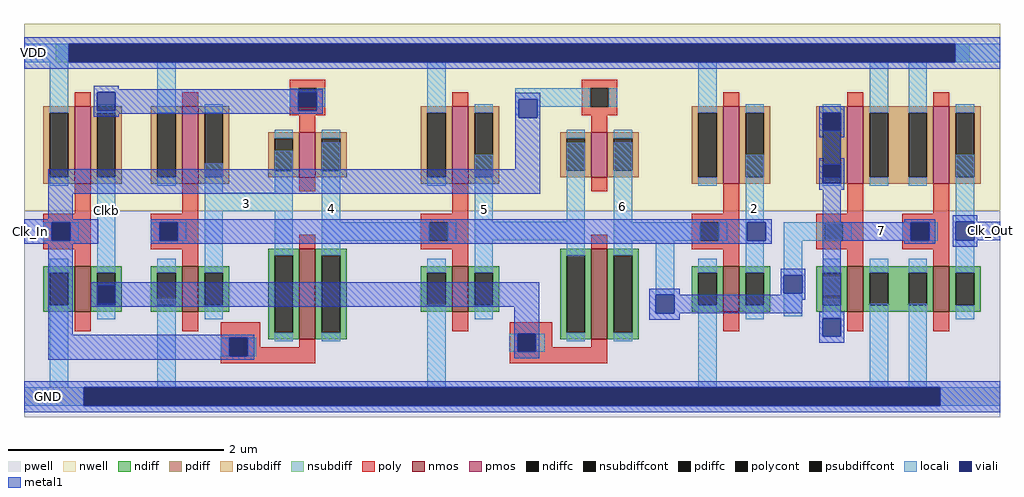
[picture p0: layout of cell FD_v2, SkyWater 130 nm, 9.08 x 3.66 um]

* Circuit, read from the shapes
.subckt FD_v2 Clk_In VDD GND Clk_Out
XM1 Clkb Clk_In GND GND sky130_fd_pr__nfet_01v8 w=0.42 l=0.15
XM2 3 2 GND GND sky130_fd_pr__nfet_01v8 w=0.42 l=0.15
XM3 4 Clk_In 3 GND sky130_fd_pr__nfet_01v8 w=0.84 l=0.15
XM4 5 4 GND GND sky130_fd_pr__nfet_01v8 w=0.42 l=0.15
XM5 6 Clkb 5 GND sky130_fd_pr__nfet_01v8 w=0.84 l=0.15
XM6 2 6 GND GND sky130_fd_pr__nfet_01v8 w=0.42 l=0.15
XM7 GND 6 7 GND sky130_fd_pr__nfet_01v8 w=0.42 l=0.15
XM8 Clk_Out 7 GND GND sky130_fd_pr__nfet_01v8 w=0.42 l=0.15
XM9 Clkb Clk_In VDD VDD sky130_fd_pr__pfet_01v8 w=0.72 l=0.15
XM10 3 2 VDD VDD sky130_fd_pr__pfet_01v8 w=0.72 l=0.15
XM11 4 Clkb 3 VDD sky130_fd_pr__pfet_01v8 w=0.42 l=0.15
XM12 5 4 VDD VDD sky130_fd_pr__pfet_01v8 w=0.72 l=0.15
XM13 6 Clk_In 5 VDD sky130_fd_pr__pfet_01v8 w=0.42 l=0.15
XM14 2 6 VDD VDD sky130_fd_pr__pfet_01v8 w=0.72 l=0.15
XM15 VDD 6 7 VDD sky130_fd_pr__pfet_01v8 w=0.72 l=0.15
XM16 Clk_Out 7 VDD VDD sky130_fd_pr__pfet_01v8 w=0.72 l=0.15
.ends

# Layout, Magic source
magic
tech sky130A
magscale 1 2
<< nwell >>
rect 68 -313 1883 34
<< pwell >>
rect 68 -697 1883 -313
<< ndiff >>
rect 1687 -501 1701 -417
<< pdiff >>
rect 1687 -263 1701 -119
<< psubdiff >>
rect 68 -676 179 -642
rect 1772 -676 1883 -642
<< nsubdiff >>
rect 127 -37 151 -3
rect 1800 -37 1827 -3
<< psubdiffcont >>
rect 179 -676 1772 -642
<< nsubdiffcont >>
rect 151 -37 1800 -3
<< poly >>
rect 434 -550 501 -521
rect 434 -584 450 -550
rect 484 -584 501 -550
rect 434 -597 501 -584
rect 971 -542 1050 -521
rect 971 -576 986 -542
rect 1020 -576 1050 -542
rect 971 -597 1050 -576
<< polycont >>
rect 450 -584 484 -550
rect 986 -576 1020 -542
<< locali >>
rect 68 -37 151 -3
rect 1800 -37 1883 -3
rect 116 -131 150 -37
rect 316 -115 350 -37
rect 818 -131 852 -37
rect 982 -106 1115 -86
rect 982 -136 988 -106
rect 1022 -120 1115 -106
rect 1022 -136 1028 -120
rect 1322 -131 1356 -37
rect 1641 -131 1675 -37
rect 1713 -131 1747 -37
rect 204 -403 238 -267
rect 404 -280 438 -225
rect 534 -280 568 -202
rect 404 -314 568 -280
rect 404 -403 438 -314
rect 534 -380 568 -314
rect 622 -335 656 -186
rect 906 -334 940 -209
rect 1077 -334 1111 -187
rect 622 -369 810 -335
rect 906 -368 1111 -334
rect 622 -380 656 -369
rect 906 -403 940 -368
rect 1077 -397 1111 -368
rect 1165 -335 1199 -186
rect 1410 -335 1444 -209
rect 1801 -334 1835 -209
rect 1165 -369 1310 -335
rect 1410 -369 1413 -335
rect 1481 -369 1541 -335
rect 1556 -369 1590 -335
rect 1165 -380 1199 -369
rect 1243 -470 1277 -369
rect 1410 -403 1444 -369
rect 116 -642 150 -503
rect 316 -642 350 -477
rect 434 -584 450 -550
rect 484 -584 500 -550
rect 818 -642 852 -488
rect 1481 -433 1515 -369
rect 1801 -403 1835 -368
rect 970 -576 986 -542
rect 1020 -576 1036 -542
rect 1322 -642 1356 -501
rect 1481 -510 1515 -467
rect 1553 -470 1587 -436
rect 1553 -513 1587 -477
rect 1641 -642 1675 -486
rect 1713 -642 1747 -486
rect 68 -676 179 -642
rect 1772 -676 1883 -642
<< viali >>
rect 151 -37 1800 -3
rect 204 -127 238 -93
rect 578 -127 612 -93
rect 988 -140 1022 -106
rect 1553 -165 1587 -131
rect 120 -369 154 -335
rect 320 -369 354 -335
rect 1553 -262 1587 -228
rect 1413 -369 1447 -335
rect 1717 -369 1751 -335
rect 1801 -368 1835 -334
rect 204 -486 238 -452
rect 450 -584 484 -550
rect 1243 -504 1277 -470
rect 1481 -467 1515 -433
rect 986 -576 1020 -542
rect 1553 -547 1587 -513
rect 179 -676 1772 -642
<< metal1 >>
rect 68 -3 1883 9
rect 68 -37 151 -3
rect 1800 -37 1883 -3
rect 68 -49 1883 -37
rect 198 -87 244 -81
rect 198 -93 624 -87
rect 198 -127 204 -93
rect 238 -127 578 -93
rect 612 -127 624 -93
rect 198 -133 624 -127
rect 982 -106 1028 -94
rect 198 -139 244 -133
rect 982 -140 988 -106
rect 1022 -140 1028 -106
rect 982 -236 1028 -140
rect 1547 -131 1593 -119
rect 1547 -165 1553 -131
rect 1587 -165 1593 -131
rect 1547 -177 1593 -165
rect 1553 -216 1587 -177
rect 113 -282 1028 -236
rect 1547 -228 1593 -216
rect 1547 -262 1553 -228
rect 1587 -262 1593 -228
rect 1547 -274 1593 -262
rect 113 -329 159 -282
rect 68 -335 206 -329
rect 68 -369 120 -335
rect 154 -369 206 -335
rect 68 -375 206 -369
rect 304 -335 1459 -329
rect 304 -369 320 -335
rect 354 -369 1413 -335
rect 1447 -369 1459 -335
rect 304 -375 1459 -369
rect 1553 -335 1587 -274
rect 1705 -335 1763 -329
rect 1553 -369 1717 -335
rect 1751 -369 1763 -335
rect 113 -544 159 -375
rect 1475 -433 1521 -421
rect 192 -452 1026 -446
rect 192 -486 204 -452
rect 238 -486 1026 -452
rect 192 -492 1026 -486
rect 980 -542 1026 -492
rect 1231 -470 1287 -458
rect 1475 -467 1481 -433
rect 1515 -467 1521 -433
rect 1475 -470 1521 -467
rect 1231 -504 1243 -470
rect 1277 -479 1521 -470
rect 1277 -504 1515 -479
rect 1553 -501 1587 -369
rect 1705 -375 1763 -369
rect 1795 -334 1841 -322
rect 1795 -368 1801 -334
rect 1835 -368 1883 -334
rect 1795 -380 1841 -368
rect 1231 -516 1287 -504
rect 1547 -513 1593 -501
rect 113 -550 496 -544
rect 113 -584 450 -550
rect 484 -584 496 -550
rect 113 -590 496 -584
rect 980 -576 986 -542
rect 1020 -576 1026 -542
rect 1547 -547 1553 -513
rect 1587 -547 1593 -513
rect 1547 -559 1593 -547
rect 980 -588 1026 -576
rect 68 -642 1883 -630
rect 68 -676 179 -642
rect 1772 -676 1883 -642
rect 68 -688 1883 -676
use sky130_fd_pr__nfet_01v8_NDE37H  sky130_fd_pr__nfet_01v8_NDE37H_0
transform 1 0 595 0 -1 -499
box -118 -141 73 98
use sky130_fd_pr__nfet_01v8_NDE37H  sky130_fd_pr__nfet_01v8_NDE37H_1
transform 1 0 1138 0 -1 -499
box -118 -141 73 98
use sky130_fd_pr__nfet_01v8_PW5BNL  sky130_fd_pr__nfet_01v8_PW5BNL_0
transform 1 0 177 0 1 -422
box -73 -115 73 103
use sky130_fd_pr__nfet_01v8_PW5BNL  sky130_fd_pr__nfet_01v8_PW5BNL_1
transform 1 0 377 0 1 -422
box -73 -115 73 103
use sky130_fd_pr__nfet_01v8_PW5BNL  sky130_fd_pr__nfet_01v8_PW5BNL_2
transform 1 0 879 0 1 -422
box -73 -115 73 103
use sky130_fd_pr__nfet_01v8_PW5BNL  sky130_fd_pr__nfet_01v8_PW5BNL_3
transform 1 0 1383 0 1 -422
box -73 -115 73 103
use sky130_fd_pr__nfet_01v8_PW5BNL  sky130_fd_pr__nfet_01v8_PW5BNL_4
transform 1 0 1614 0 1 -422
box -73 -115 73 103
use sky130_fd_pr__nfet_01v8_PW5BNL  sky130_fd_pr__nfet_01v8_PW5BNL_5
transform 1 0 1774 0 1 -422
box -73 -115 73 103
use sky130_fd_pr__pfet_01v8_A7DS5R  sky130_fd_pr__pfet_01v8_A7DS5R_0
transform 1 0 177 0 1 -227
box -109 -133 109 170
use sky130_fd_pr__pfet_01v8_A7DS5R  sky130_fd_pr__pfet_01v8_A7DS5R_1
transform 1 0 377 0 1 -227
box -109 -133 109 170
use sky130_fd_pr__pfet_01v8_A7DS5R  sky130_fd_pr__pfet_01v8_A7DS5R_2
transform 1 0 879 0 1 -227
box -109 -133 109 170
use sky130_fd_pr__pfet_01v8_A7DS5R  sky130_fd_pr__pfet_01v8_A7DS5R_3
transform 1 0 1383 0 1 -227
box -109 -133 109 170
use sky130_fd_pr__pfet_01v8_A7DS5R  sky130_fd_pr__pfet_01v8_A7DS5R_4
transform 1 0 1614 0 1 -227
box -109 -133 109 170
use sky130_fd_pr__pfet_01v8_A7DS5R  sky130_fd_pr__pfet_01v8_A7DS5R_5
transform 1 0 1774 0 1 -227
box -109 -133 109 170
use sky130_fd_pr__pfet_01v8_ACPHKB  sky130_fd_pr__pfet_01v8_ACPHKB_0
transform 1 0 595 0 1 -173
box -109 -140 109 106
use sky130_fd_pr__pfet_01v8_ACPHKB  sky130_fd_pr__pfet_01v8_ACPHKB_1
transform 1 0 1138 0 1 -173
box -109 -140 109 106
<< labels >>
rlabel metal1 68 -375 92 -329 1 Clk_In
port 1 n
rlabel metal1 1849 -368 1883 -334 1 Clk_Out
port 4 n
rlabel metal1 68 -49 102 9 1 VDD
port 2 n
rlabel metal1 96 -688 130 -630 1 GND
port 3 n
rlabel locali 208 -326 233 -298 1 Clkb
rlabel locali 470 -312 495 -288 1 3
rlabel locali 628 -321 653 -297 1 4
rlabel locali 911 -323 936 -299 1 5
rlabel locali 1169 -318 1194 -294 1 6
rlabel locali 1414 -321 1439 -297 1 2
rlabel metal1 1651 -363 1676 -339 1 7
<< properties >>
string LEFclass CORE
string LEFsite unithddb1
<< end >>

# cell sky130_fd_pr__nfet_01v8_NDE37H: kit device sky130_fd_pr__nfet_01v8, w 0.84 l 0.150 m 1 nf 1 diffcov 100 polycov 100 guard 0 glc 0 grc 0 gtc 0 gbc 0 tbcov 100 rlcov 100 topc 1 botc 0 poverlap 0 doverlap 1 lmin 0.15 wmin 0.42 compatible {sky130_fd_pr__nfet_01v8 sky130_fd_pr__nfet_01v8_lvt sky130_fd_bs_flash__special_sonosfet_star sky130_fd_pr__nfet_g5v0d10v5 sky130_fd_pr__nfet_05v0_nvt sky130_fd_pr__nfet_03v3_nvt} full_metal 0 viasrc 100 viadrn 100 viagate 100 viagb 0 viagr 0 viagl 0 viagt 0

# cell sky130_fd_pr__nfet_01v8_PW5BNL: kit device sky130_fd_pr__nfet_01v8, w 0.460 l 0.150 m 1 nf 1 diffcov 100 polycov 100 guard 0 glc 0 grc 0 gtc 0 gbc 0 tbcov 100 rlcov 100 topc 1 botc 0 poverlap 0 doverlap 1 lmin 0.15 wmin 0.42 compatible {sky130_fd_pr__nfet_01v8 sky130_fd_pr__nfet_01v8_lvt sky130_fd_bs_flash__special_sonosfet_star sky130_fd_pr__nfet_g5v0d10v5 sky130_fd_pr__nfet_05v0_nvt sky130_fd_pr__nfet_03v3_nvt} full_metal 0 viasrc 100 viadrn 100 viagate 100 viagb 0 viagr 0 viagl 0 viagt 0

# cell sky130_fd_pr__pfet_01v8_A7DS5R: kit device sky130_fd_pr__pfet_01v8, w 0.72 l 0.15 m 1 nf 1 diffcov 100 polycov 100 guard 0 glc 0 grc 0 gtc 0 gbc 0 tbcov 100 rlcov 100 topc 0 botc 1 poverlap 0 doverlap 1 lmin 0.15 wmin 0.42 compatible {sky130_fd_pr__pfet_01v8 sky130_fd_pr__pfet_01v8_lvt sky130_fd_pr__pfet_01v8_hvt sky130_fd_pr__pfet_g5v0d10v5} full_metal 0 viasrc 100 viadrn 100 viagate 100 viagb 0 viagr 0 viagl 0 viagt 0

# cell sky130_fd_pr__pfet_01v8_ACPHKB: kit device sky130_fd_pr__pfet_01v8, w 0.42 l 0.15 m 1 nf 1 diffcov 100 polycov 100 guard 0 glc 0 grc 0 gtc 0 gbc 0 tbcov 100 rlcov 100 topc 1 botc 0 poverlap 0 doverlap 1 lmin 0.15 wmin 0.42 compatible {sky130_fd_pr__pfet_01v8 sky130_fd_pr__pfet_01v8_lvt sky130_fd_pr__pfet_01v8_hvt sky130_fd_pr__pfet_g5v0d10v5} full_metal 0 viasrc 100 viadrn 100 viagate 100 viagb 0 viagr 0 viagl 0 viagt 0
